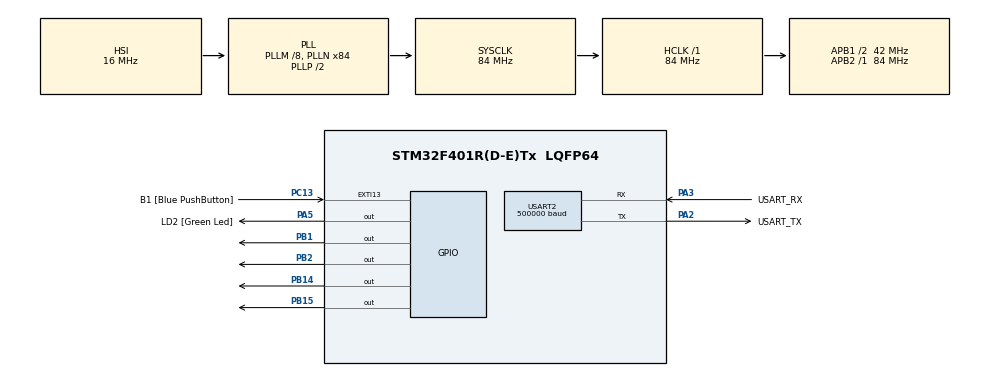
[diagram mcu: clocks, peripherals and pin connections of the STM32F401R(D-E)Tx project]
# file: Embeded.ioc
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Mcu.Family=STM32F4
Mcu.Name=STM32F401R(D-E)Tx
Mcu.Package=LQFP64
NVIC.PriorityGroup=NVIC_PRIORITYGROUP_4
NVIC.TIM5_IRQn=true\:0\:0\:false\:false\:true\:false\:true
NVIC.TimeBase=TIM5_IRQn
NVIC.TimeBaseIP=TIM5
PA13.GPIO_Label=TMS
PA13.Signal=SYS_JTMS-SWDIO
PA14.GPIO_Label=TCK
PA14.Signal=SYS_JTCK-SWCLK
PA2.GPIO_Label=USART_TX
PA2.GPIO_Mode=GPIO_MODE_AF_PP
PA2.GPIO_PuPd=GPIO_NOPULL
PA2.GPIO_Speed=GPIO_SPEED_FREQ_LOW
PA2.Mode=Asynchronous
PA2.Signal=USART2_TX
PA3.GPIO_Label=USART_RX
PA3.GPIO_Mode=GPIO_MODE_AF_PP
PA3.GPIO_PuPd=GPIO_NOPULL
PA3.GPIO_Speed=GPIO_SPEED_FREQ_VERY_HIGH
PA3.Mode=Asynchronous
PA3.Signal=USART2_RX
PA5.GPIO_Label=LD2 [Green Led]
PA5.GPIO_Mode=GPIO_MODE_OUTPUT_PP
PA5.GPIO_PuPd=GPIO_NOPULL
PA5.GPIO_Speed=GPIO_SPEED_FREQ_LOW
PA5.Signal=GPIO_Output
PB1.Signal=GPIO_Output
PB14.Signal=GPIO_Output
PB15.Signal=GPIO_Output
PB2.Signal=GPIO_Output
PB3.GPIO_Label=SWO
PB3.Signal=SYS_JTDO-SWO
PC13-ANTI_TAMP.GPIO_Label=B1 [Blue PushButton]
PC13-ANTI_TAMP.GPIO_ModeDefaultEXTI=GPIO_MODE_IT_FALLING
PC13-ANTI_TAMP.GPIO_PuPd=GPIO_NOPULL
PC13-ANTI_TAMP.Signal=GPXTI13
PC14-OSC32_IN.Signal=RCC_OSC32_IN
PC15-OSC32_OUT.Signal=RCC_OSC32_OUT
PH0\ -\ OSC_IN.Signal=RCC_OSC_IN
PH1\ -\ OSC_OUT.Signal=RCC_OSC_OUT
ProjectManager.HeapSize=0x200
ProjectManager.StackSize=0x400
ProjectManager.TargetToolchain=STM32CubeIDE
RCC.48MHZClocksFreq_Value=24000000
RCC.AHBFreq_Value=84000000
RCC.APB1CLKDivider=RCC_HCLK_DIV2
RCC.APB1Freq_Value=42000000
RCC.APB1TimFreq_Value=84000000
RCC.APB2Freq_Value=84000000
RCC.APB2TimFreq_Value=84000000
RCC.CortexFreq_Value=84000000
RCC.HCLKFreq_Value=84000000
RCC.HSE_VALUE=8000000
RCC.HSI_VALUE=16000000
RCC.LSE_VALUE=32768
RCC.PLLM=8
RCC.PLLN=84
RCC.PLLQ=7
RCC.SYSCLKFreq_VALUE=84000000
RCC.SYSCLKSource=RCC_SYSCLKSOURCE_PLLCLK
RCC.VCOOutputFreq_Value=168000000
USART2.BaudRate=500000
USART2.VirtualMode=VM_ASYNC
VP_SYS_VS_tim5.Mode=TIM5
board=NUCLEO-F401RE

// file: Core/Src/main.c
/* USER CODE BEGIN Header */
/**
  ******************************************************************************
  * @file           : main.c
  * @brief          : Main program body
  ******************************************************************************
  * @attention
  *
  * <h2><center>&copy; Copyright (c) 2021 STMicroelectronics.
  * All rights reserved.</center></h2>
  *
  * This software component is licensed by ST under BSD 3-Clause license,
  * the "License"; You may not use this file except in compliance with the
  * License. You may obtain a copy of the License at:
  *                        opensource.org/licenses/BSD-3-Clause
  *
  ******************************************************************************
  */
/* USER CODE END Header */
#include "main.h"

/* USER CODE BEGIN Includes */
#include "FreeRTOS.h"
#include "task.h"
#include "stdio.h"
/* USER CODE END Includes */

UART_HandleTypeDef huart2;

/* USER CODE BEGIN PV */
#define DWT_CTRL (*(volatile uint32_t*)0xE0001000)

/* USER CODE END PV */

void SystemClock_Config(void);
static void MX_GPIO_Init(void);
static void MX_USART2_UART_Init(void);
/* USER CODE BEGIN PFP */
static void led_green_handler (void* parrameters);
static void led_orange_handler (void* parrameters);
static void led_red_handler (void* parrameters);
static void led_blue_handler (void* parrameters);

/* USER CODE END PFP */

int main(void)
{

  /* MCU Configuration--------------------------------------------------------*/

  /* Reset of all peripherals, Initializes the Flash interface and the Systick. */
  HAL_Init();

  /* USER CODE BEGIN Init */
  TaskHandle_t task1_handle;
  TaskHandle_t task2_handle;
  TaskHandle_t task3_handle;
  TaskHandle_t task4_handle;

  BaseType_t status;
  /* USER CODE END Init */

  /* Configure the system clock */
  SystemClock_Config();

  /* Initialize all configured peripherals */
  MX_GPIO_Init();
  MX_USART2_UART_Init();
  /* USER CODE BEGIN 2 */

  //Enable the CYCCNT counter --> required for SEEGER System View time stamping feature

  DWT_CTRL |= ( 1<< 0 );
  SEGGER_UART_init(500000);

  SEGGER_SYSVIEW_Conf();

 // SEGGER_SYSVIEW_Start();

  status = xTaskCreate(led_green_handler, "taskLedGreen", 200, NULL, 2, &task1_handle);
  configASSERT(status == pdPASS);

  status = xTaskCreate(led_orange_handler, "taskLedOrange", 200, NULL, 2, &task2_handle);
  configASSERT(status == pdPASS);

  status = xTaskCreate(led_red_handler, "taskLedRed", 200, NULL, 2, &task3_handle);
  configASSERT(status == pdPASS);

  status = xTaskCreate(led_blue_handler, "taskLedBlue", 200, NULL, 2, &task4_handle);
  configASSERT(status == pdPASS);

  //start the free RTOS scheduler

  vTaskStartScheduler();

  //lunch of the scheduler is fails due to the  insufficient memory in the heap

  /* USER CODE END 2 */

  /* Infinite loop */
  while (1)
  {

  }
}

void SystemClock_Config(void)
{
  RCC_OscInitTypeDef RCC_OscInitStruct = {0};
  RCC_ClkInitTypeDef RCC_ClkInitStruct = {0};

  /** Configure the main internal regulator output voltage
  */
  __HAL_RCC_PWR_CLK_ENABLE();
  __HAL_PWR_VOLTAGESCALING_CONFIG(PWR_REGULATOR_VOLTAGE_SCALE2);
  /** Initializes the RCC Oscillators according to the specified parameters
  * in the RCC_OscInitTypeDef structure.
  */
  RCC_OscInitStruct.OscillatorType = RCC_OSCILLATORTYPE_HSI;
  RCC_OscInitStruct.HSIState = RCC_HSI_ON;
  RCC_OscInitStruct.HSICalibrationValue = RCC_HSICALIBRATION_DEFAULT;
  RCC_OscInitStruct.PLL.PLLState = RCC_PLL_ON;
  RCC_OscInitStruct.PLL.PLLSource = RCC_PLLSOURCE_HSI;
  RCC_OscInitStruct.PLL.PLLM = 8;
  RCC_OscInitStruct.PLL.PLLN = 84;
  RCC_OscInitStruct.PLL.PLLP = RCC_PLLP_DIV2;
  RCC_OscInitStruct.PLL.PLLQ = 7;
  if (HAL_RCC_OscConfig(&RCC_OscInitStruct) != HAL_OK)
  {
    Error_Handler();
  }
  /** Initializes the CPU, AHB and APB buses clocks
  */
  RCC_ClkInitStruct.ClockType = RCC_CLOCKTYPE_HCLK|RCC_CLOCKTYPE_SYSCLK
                              |RCC_CLOCKTYPE_PCLK1|RCC_CLOCKTYPE_PCLK2;
  RCC_ClkInitStruct.SYSCLKSource = RCC_SYSCLKSOURCE_PLLCLK;
  RCC_ClkInitStruct.AHBCLKDivider = RCC_SYSCLK_DIV1;
  RCC_ClkInitStruct.APB1CLKDivider = RCC_HCLK_DIV2;
  RCC_ClkInitStruct.APB2CLKDivider = RCC_HCLK_DIV1;

  if (HAL_RCC_ClockConfig(&RCC_ClkInitStruct, FLASH_LATENCY_2) != HAL_OK)
  {
    Error_Handler();
  }
}

static void MX_USART2_UART_Init(void)
{

  huart2.Instance = USART2;
  huart2.Init.BaudRate = 500000;
  huart2.Init.WordLength = UART_WORDLENGTH_8B;
  huart2.Init.StopBits = UART_STOPBITS_1;
  huart2.Init.Parity = UART_PARITY_NONE;
  huart2.Init.Mode = UART_MODE_TX_RX;
  huart2.Init.HwFlowCtl = UART_HWCONTROL_NONE;
  huart2.Init.OverSampling = UART_OVERSAMPLING_16;
  if (HAL_UART_Init(&huart2) != HAL_OK)
  {
    Error_Handler();
  }

}

static void MX_GPIO_Init(void)
{
  GPIO_InitTypeDef GPIO_InitStruct = {0};

  /* GPIO Ports Clock Enable */
  __HAL_RCC_GPIOC_CLK_ENABLE();
  __HAL_RCC_GPIOH_CLK_ENABLE();
  __HAL_RCC_GPIOA_CLK_ENABLE();
  __HAL_RCC_GPIOB_CLK_ENABLE();

  /*Configure GPIO pin Output Level */
  HAL_GPIO_WritePin(LD2_GPIO_Port, LD2_Pin, GPIO_PIN_RESET);

  /*Configure GPIO pin Output Level */
  HAL_GPIO_WritePin(GPIOB, GPIO_PIN_1|GPIO_PIN_2|GPIO_PIN_14|GPIO_PIN_15, GPIO_PIN_RESET);

  /*Configure GPIO pin : B1_Pin */
  GPIO_InitStruct.Pin = B1_Pin;
  GPIO_InitStruct.Mode = GPIO_MODE_IT_FALLING;
  GPIO_InitStruct.Pull = GPIO_NOPULL;
  HAL_GPIO_Init(B1_GPIO_Port, &GPIO_InitStruct);

  /*Configure GPIO pin : LD2_Pin */
  GPIO_InitStruct.Pin = LD2_Pin;
  GPIO_InitStruct.Mode = GPIO_MODE_OUTPUT_PP;
  GPIO_InitStruct.Pull = GPIO_NOPULL;
  GPIO_InitStruct.Speed = GPIO_SPEED_FREQ_LOW;
  HAL_GPIO_Init(LD2_GPIO_Port, &GPIO_InitStruct);

  /*Configure GPIO pins : PB1 PB2 PB14 PB15 */
  GPIO_InitStruct.Pin = GPIO_PIN_1|GPIO_PIN_2|GPIO_PIN_14|GPIO_PIN_15;
  GPIO_InitStruct.Mode = GPIO_MODE_OUTPUT_PP;
  GPIO_InitStruct.Pull = GPIO_NOPULL;
  GPIO_InitStruct.Speed = GPIO_SPEED_FREQ_LOW;
  HAL_GPIO_Init(GPIOB, &GPIO_InitStruct);

}

/* USER CODE BEGIN 4 */

static void led_green_handler (void* parrameters)
{
	while (1)
	{

		HAL_GPIO_TogglePin(GPIOB, GPIO_PIN_2);
		HAL_Delay(1000);
	}

}

static void led_orange_handler (void* parrameters)
{
	while (1)
	{

		HAL_GPIO_TogglePin(GPIOB, GPIO_PIN_1);
		HAL_Delay(800);
	}
}

static void led_red_handler (void* parrameters)
{
	while (1)
	{

		HAL_GPIO_TogglePin(GPIOB, GPIO_PIN_15);
		HAL_Delay(400);
	}
}

static void led_blue_handler (void* parrameters)
{
	while (1)
	{
		HAL_GPIO_TogglePin(GPIOB, GPIO_PIN_14);
		HAL_Delay(200);

	}
}

/* USER CODE END 4 */

 /**
  * @brief  Period elapsed callback in non blocking mode
  * @note   This function is called  when TIM5 interrupt took place, inside
  * HAL_TIM_IRQHandler(). It makes a direct call to HAL_IncTick() to increment
  * a global variable "uwTick" used as application time base.
  * @param  htim : TIM handle
  * @retval None
  */
void HAL_TIM_PeriodElapsedCallback(TIM_HandleTypeDef *htim)
{
  if (htim->Instance == TIM5) {
    HAL_IncTick();
  }
}

void Error_Handler(void)
{
  __disable_irq();
  while (1)
  {
  }
}

/************************ (C) COPYRIGHT STMicroelectronics *****END OF FILE****/
